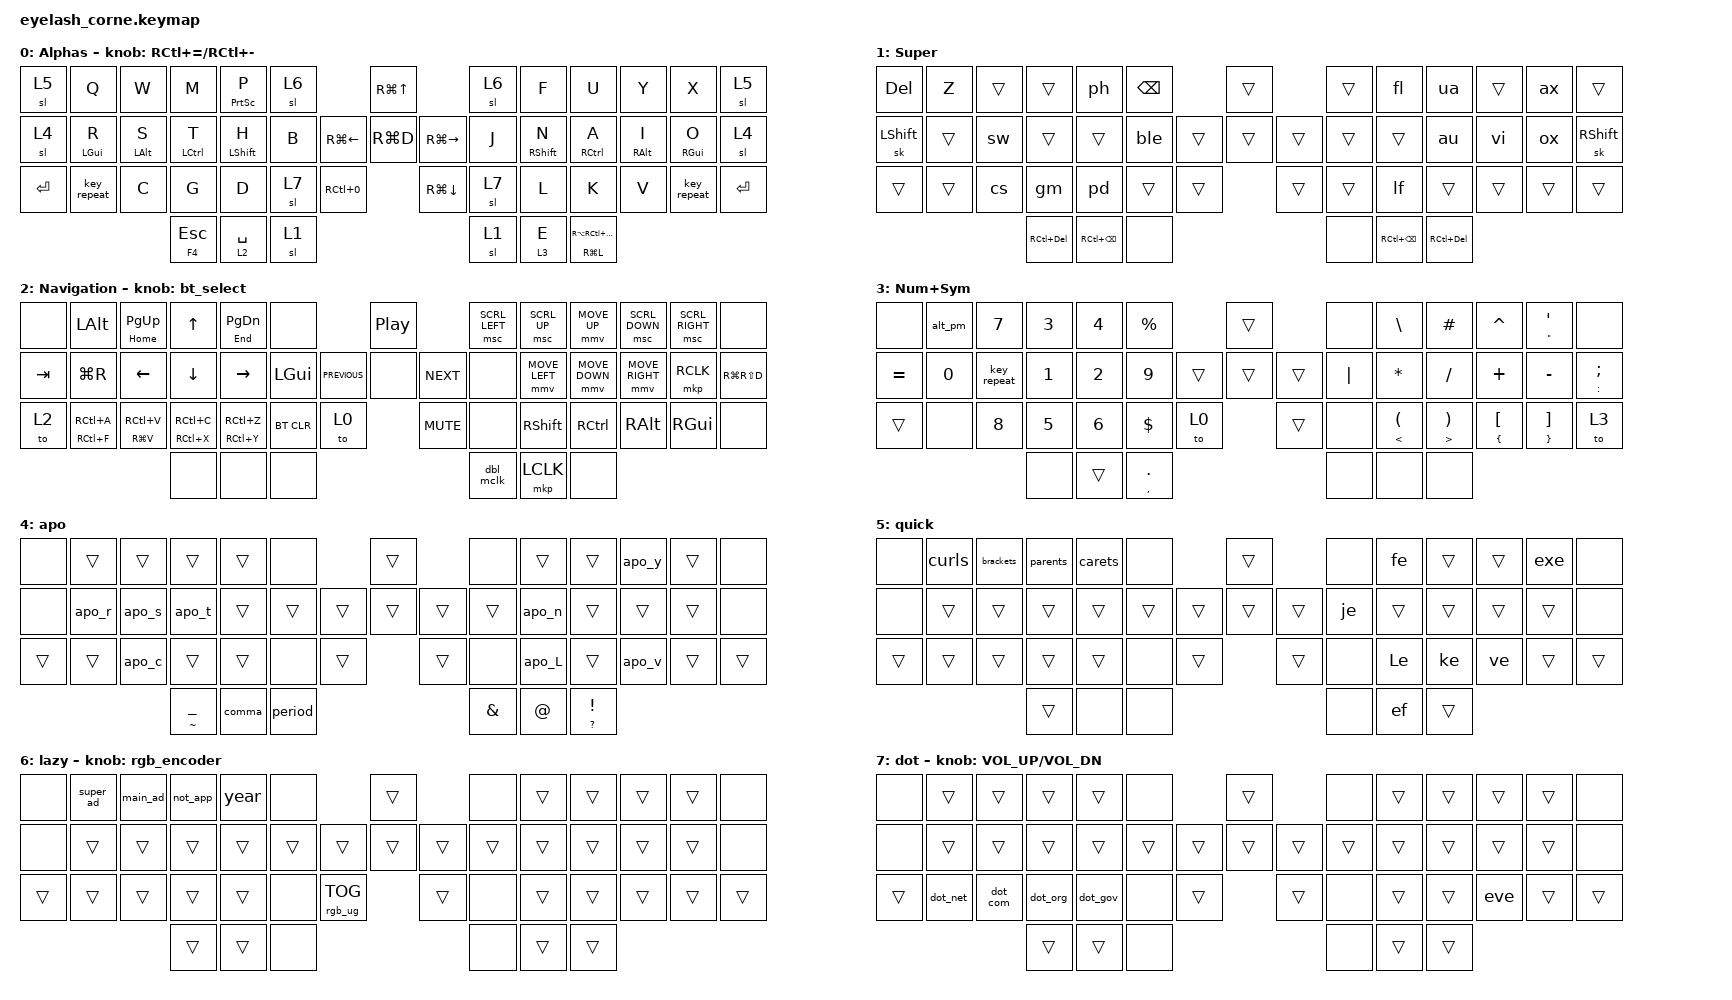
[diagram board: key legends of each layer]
#define ZMK_POINTING_DEFAULT_MOVE_VAL 1200  // 600
#define ZMK_POINTING_DEFAULT_SCRL_VAL 25   // 10

#include <input/processors.dtsi>
#include <zephyr/dt-bindings/input/input-event-codes.h>
#include <behaviors.dtsi>
#include <dt-bindings/zmk/bt.h>
#include <dt-bindings/zmk/keys.h>
#include <dt-bindings/zmk/outputs.h>
#include <dt-bindings/zmk/pointing.h>
#include <dt-bindings/zmk/rgb.h>

&mmv_input_listener { input-processors = <&zip_xy_scaler 2 1>; };

&msc_input_listener { input-processors = <&zip_scroll_scaler 2 1>; };

&msc {
    acceleration-exponent = <1>;      // 0
    time-to-max-speed-ms = <100>;       // 300
    delay-ms = <0>;                   // 0
};

&mmv {
    time-to-max-speed-ms = <500>;
    acceleration-exponent = <1>;
    trigger-period-ms = <16>;
};

&caps_word { continue-list = <UNDERSCORE BACKSPACE DELETE MINUS N1 N2 N3 N4 N5 N6 N7 N8 N9 N0>; };

/ {
    behaviors {
        td0: td0 {
            compatible = "zmk,behavior-tap-dance";
            display-name = "Shift/Caps Lock Tap Dance";
            #binding-cells = <0>;
            bindings = <&kp LEFT_SHIFT>, <&kp CAPS>;
        };

        bt_select: bt_select {
            compatible = "zmk,behavior-sensor-rotate";
            label = "BT_SELECT";
            #sensor-binding-cells = <0>;
            bindings = <&bt BT_NXT>, <&bt BT_PRV>;
        };
    };

    rgb_encoder: rgb_encoder {
        compatible = "zmk,behavior-sensor-rotate";
        #sensor-binding-cells = <0>;
        bindings = <&rgb_ug RGB_BRI>, <&rgb_ug RGB_BRD>;
    };

    scroll_encoder: scroll_encoder {
        compatible = "zmk,behavior-sensor-rotate";
        #sensor-binding-cells = <0>;
        bindings = <&msc SCRL_DOWN>, <&msc SCRL_UP>;

        tap-ms = <100>;
    };

    combos {
        compatible = "zmk,combos";

        input {
            bindings = <&out OUT_TOG>;
            key-positions = <5 0>;
            layers = <2>;
        };

        caps {
            bindings = <&caps_word>;
            key-positions = <45 44>;
            layers = <0>;
        };
    };

    macros {
        carets: carets {
            compatible = "zmk,behavior-macro";
            #binding-cells = <0>;
            bindings = <&kp LT &kp GT &kp LEFT_ARROW>;
            label = "CARETS";
        };

        parents: parents {
            compatible = "zmk,behavior-macro";
            #binding-cells = <0>;
            bindings = <&kp LPAR &kp RPAR &kp LEFT_ARROW>;
            label = "PARENTS";
        };

        brackets: brackets {
            compatible = "zmk,behavior-macro";
            #binding-cells = <0>;
            bindings = <&kp LBKT &kp RIGHT_BRACKET &kp LEFT_ARROW>;
            label = "BRACKETS";
        };

        curls: curls {
            compatible = "zmk,behavior-macro";
            #binding-cells = <0>;
            bindings = <&kp LBRC &kp RBRC &kp LEFT_ARROW>;
            label = "CURLS";
        };

        not_app: not_app {
            compatible = "zmk,behavior-macro";
            #binding-cells = <0>;
            bindings = <&kp LS(N) &kp FSLH &kp LS(A)>;
            label = "NOT_APP";
        };

        year: year {
            compatible = "zmk,behavior-macro";
            #binding-cells = <0>;
            bindings = <&kp N2 &kp N0 &kp N2 &kp N5>;
            label = "YEAR";
        };

        main_ad: main_ad {
            compatible = "zmk,behavior-macro";
            #binding-cells = <0>;
            bindings = <&kp D &kp E &kp L &kp L &kp O &kp N &kp DOT &kp M &kp O &kp Y>;
            label = "MAIN_AD";
        };

        super_ad: super_ad {
            compatible = "zmk,behavior-macro";
            #binding-cells = <0>;
            bindings = <&kp S &kp DOT &kp D &kp E &kp L &kp L &kp O &kp N &kp DOT &kp M &kp O &kp Y>;
            label = "SUPER_AD";
        };

        dbl_mclk: dbl_mclk {
            compatible = "zmk,behavior-macro";
            #binding-cells = <0>;
            bindings = <&mkp LCLK &mkp LCLK>;
            label = "DBL_MCLK";
        };

        apo_r: apo_r {
            compatible = "zmk,behavior-macro";
            #binding-cells = <0>;
            bindings = <&kp SQT &kp R &kp E &kp SPACE>;
            label = "APO_R";
        };

        apo_s: apo_s {
            compatible = "zmk,behavior-macro";
            #binding-cells = <0>;
            bindings = <&kp SQT &kp S &kp SPACE>;
            label = "APO_S";
        };

        apo_t: apo_t {
            compatible = "zmk,behavior-macro";
            #binding-cells = <0>;
            bindings = <&kp SQT &kp T &kp SPACE>;
            label = "APO_T";
        };

        apo_y: apo_y {
            compatible = "zmk,behavior-macro";
            #binding-cells = <0>;
            bindings = <&kp Y &kp SQT>;
            label = "APO_Y";
        };

        apo_L: apo_L {
            compatible = "zmk,behavior-macro";
            #binding-cells = <0>;
            bindings = <&kp SQT &kp L &kp L &kp SPACE>;
            label = "APO_L";
        };

        apo_v: apo_v {
            compatible = "zmk,behavior-macro";
            #binding-cells = <0>;
            bindings = <&kp SQT &kp V &kp E &kp SPACE>;
            label = "APO_V";
        };

        au: au {
            compatible = "zmk,behavior-macro";
            #binding-cells = <0>;
            bindings = <&kp A &kp U>;
            label = "AU";
        };

        sw: sw {
            compatible = "zmk,behavior-macro";
            #binding-cells = <0>;
            bindings = <&kp S &kp W>;
            label = "SW";
        };

        vi: vi {
            compatible = "zmk,behavior-macro";
            #binding-cells = <0>;
            bindings = <&kp V &kp I>;
            label = "VI";
        };

        cs: cs {
            compatible = "zmk,behavior-macro";
            #binding-cells = <0>;
            bindings = <&kp C &kp S>;
            label = "CS";
        };

        fl: fl {
            compatible = "zmk,behavior-macro";
            #binding-cells = <0>;
            bindings = <&kp F &kp L>;
            label = "FL";
        };

        lf: lf {
            compatible = "zmk,behavior-macro";
            #binding-cells = <0>;
            bindings = <&kp L &kp F>;
            label = "LF";
        };

        comma: comma {
            compatible = "zmk,behavior-macro";
            #binding-cells = <0>;
            bindings = <&kp COMMA &kp SPACE>;
            label = "COMMA";
        };

        period: period {
            compatible = "zmk,behavior-macro";
            #binding-cells = <0>;
            bindings = <&kp DOT &kp SPACE>;
            label = "PERIOD";
        };

        gm: gm {
            compatible = "zmk,behavior-macro";
            #binding-cells = <0>;
            bindings = <&kp G &kp M>;
            label = "GM";
        };

        dot_com: dot_com {
            compatible = "zmk,behavior-macro";
            #binding-cells = <0>;
            bindings = <&kp DOT &kp C &kp O &kp M>;
            label = "DOT_COM";
        };

        dot_net: dot_net {
            compatible = "zmk,behavior-macro";
            #binding-cells = <0>;
            bindings = <&kp DOT &kp N &kp E &kp T>;
            label = "DOT_NET";
        };

        dot_org: dot_org {
            compatible = "zmk,behavior-macro";
            #binding-cells = <0>;
            bindings = <&kp DOT &kp O &kp R &kp G>;
            label = "DOT_ORG";
        };

        dot_gov: dot_gov {
            compatible = "zmk,behavior-macro";
            #binding-cells = <0>;
            bindings = <&kp DOT &kp G &kp O &kp V>;
            label = "DOT_GOV";
        };

        pd: pd {
            compatible = "zmk,behavior-macro";
            #binding-cells = <0>;
            bindings = <&kp P &kp D>;
            label = "PD";
        };

        ef: ef {
            compatible = "zmk,behavior-macro";
            #binding-cells = <0>;
            bindings = <&kp E &kp F>;
            label = "EF";
        };

        fe: fe {
            compatible = "zmk,behavior-macro";
            #binding-cells = <0>;
            bindings = <&kp F &kp E>;
            label = "FE";
        };

        apo_c: apo_c {
            compatible = "zmk,behavior-macro";
            #binding-cells = <0>;
            bindings = <&kp C &kp SQT>;
            label = "APO_C";
        };

        apo_n: apo_n {
            compatible = "zmk,behavior-macro";
            #binding-cells = <0>;
            bindings = <&kp N &kp SQT>;
            label = "APO_N";
        };

        ua: ua {
            compatible = "zmk,behavior-macro";
            #binding-cells = <0>;
            bindings = <&kp U &kp A>;
            label = "UA";
        };

        ox: ox {
            compatible = "zmk,behavior-macro";
            #binding-cells = <0>;
            bindings = <&kp O &kp X>;
            label = "OX";
        };

        ax: ax {
            compatible = "zmk,behavior-macro";
            #binding-cells = <0>;
            bindings = <&kp A &kp X>;
            label = "AX";
        };

        ble: ble {
            compatible = "zmk,behavior-macro";
            #binding-cells = <0>;
            bindings = <&kp B &kp L &kp E>;
            label = "BLE";
        };

        Le: Le {
            compatible = "zmk,behavior-macro";
            #binding-cells = <0>;
            bindings = <&kp L &kp E>;
            label = "LE";
        };

        ke: ke {
            compatible = "zmk,behavior-macro";
            #binding-cells = <0>;
            bindings = <&kp K &kp E>;
            label = "KE";
        };

        ve: ve {
            compatible = "zmk,behavior-macro";
            #binding-cells = <0>;
            bindings = <&kp V &kp E>;
            label = "VE";
        };

        eve: eve {
            compatible = "zmk,behavior-macro";
            #binding-cells = <0>;
            bindings = <&kp E &kp V &kp E>;
            label = "EVE";
        };

        exe: exe {
            compatible = "zmk,behavior-macro";
            #binding-cells = <0>;
            bindings = <&kp E &kp X &kp E>;
            label = "EXE";
        };

        je: je {
            compatible = "zmk,behavior-macro";
            #binding-cells = <0>;
            bindings = <&kp J &kp E>;
            label = "JE";
        };

        ph: ph {
            compatible = "zmk,behavior-macro";
            #binding-cells = <0>;
            bindings = <&kp P &kp H>;
            label = "PH";
        };

        alt_pm: alt_pm {
            compatible = "zmk,behavior-macro";
            #binding-cells = <0>;
            bindings = <&kt KP_NUMLOCK &kt LEFT_ALT &kp N0 &kp N1 &kp N7 &kp N7 &kt LEFT_ALT &kt KP_NUMLOCK>;
            label = "ALT_PM";
        };
    };

    keymap {
        compatible = "zmk,keymap";

        Base {
            display-name = "Alphas";
            bindings = <
&sl 5       &kp Q        &kp W           &kp M        &mt PRINTSCREEN P  &sl 6                                    &kp RG(UP_ARROW)                   &sl 6  &kp F        &kp U                     &kp Y            &kp X        &sl 5
&sl 4       &mt LGUI R   &mt LEFT_ALT S  &mt LCTRL T  &mt LEFT_SHIFT H   &kp B                &kp RG(LEFT_ARROW)  &kp RG(D)           &kp RG(RIGHT)  &kp J  &mt RSHFT N  &mt RCTRL A               &mt RIGHT_ALT I  &mt RGUI O   &sl 4
&kp RETURN  &key_repeat  &kp C           &kp G        &kp D              &sl 7  &kp RC(N0)                        &kp RG(DOWN_ARROW)                 &sl 7  &kp L        &kp K                     &kp V            &key_repeat  &kp RETURN
                                         &mt F4 ESC   &lt 2 SPACE        &sl 1                                                                       &sl 1  &lt 3 E      &mt RG(L) RA(RC(DELETE))
            >;

            sensor-bindings = <&inc_dec_kp RC(EQUAL) RC(MINUS)>;
        };

        Super {
            bindings = <
&kp DELETE  &kp Z   &trans  &trans          &ph                &kp BACKSPACE                    &trans          &trans  &fl                &ua             &trans  &ax     &trans
&sk LSHFT   &trans  &sw     &trans          &trans             &ble                     &trans  &trans  &trans  &trans  &trans             &au             &vi     &ox     &sk RSHFT
&trans      &trans  &cs     &gm             &pd                &trans         &trans            &trans          &trans  &lf                &trans          &trans  &trans  &trans
                            &kp RC(DELETE)  &kp RC(BACKSPACE)  &none                                            &none   &kp RC(BACKSPACE)  &kp RC(DELETE)
            >;
        };

        Navigation {
            bindings = <
&none    &kp LALT         &mt HOME PG_UP   &kp UP_ARROW     &mt END PG_DN    &none                                &kp C_PLAY_PAUSE              &msc SCRL_LEFT  &msc SCRL_UP    &mmv MOVE_UP    &msc SCRL_DOWN   &msc SCRL_RIGHT  &none
&kp TAB  &kp LG(R)        &kp LEFT_ARROW   &kp DOWN_ARROW   &kp RIGHT_ARROW  &kp LGUI             &kp C_PREVIOUS  &none             &kp C_NEXT  &none           &mmv MOVE_LEFT  &mmv MOVE_DOWN  &mmv MOVE_RIGHT  &mkp RCLK        &kp RG(RS(D))
&to 2    &mt RC(F) RC(A)  &mt RG(V) RC(V)  &mt RC(X) RC(C)  &mt RC(Y) RC(Z)  &bt BT_CLR  &to 0                    &kp C_MUTE                    &none           &kp RSHFT       &kp RCTRL       &kp RALT         &kp RGUI         &none
                                           &none            &none            &none                                                              &dbl_mclk       &mkp LCLK       &none
            >;

            sensor-bindings = <&bt_select>;
        };

        Num+Sym {
            bindings = <
&none      &alt_pm  &kp N7       &kp N3  &kp N4  &kp PERCENT                        &trans          &none     &kp BACKSLASH                   &kp POUND                           &kp CARET              &mt DOUBLE_QUOTES SINGLE_QUOTE  &none
&kp EQUAL  &kp N0   &key_repeat  &kp N1  &kp N2  &kp N9                     &trans  &trans  &trans  &kp PIPE  &kp ASTRK                       &kp SLASH                           &kp PLUS               &kp MINUS                       &mt COLON SEMI
&trans     &none    &kp N8       &kp N5  &kp N6  &kp DOLLAR        &to 0            &trans          &none     &mt LESS_THAN LEFT_PARENTHESIS  &mt GREATER_THAN RIGHT_PARENTHESIS  &mt LBRC LEFT_BRACKET  &mt RIGHT_BRACE RIGHT_BRACKET   &to 3
                                 &none   &trans  &mt COMMA PERIOD                                   &none     &none                           &none
            >;
        };

        apo {
            bindings = <
&none   &trans  &trans  &trans           &trans  &none                      &trans          &none     &trans  &trans                    &apo_y  &trans  &none
&none   &apo_r  &apo_s  &apo_t           &trans  &trans             &trans  &trans  &trans  &trans    &apo_n  &trans                    &trans  &trans  &none
&trans  &trans  &apo_c  &trans           &trans  &none    &trans            &trans          &none     &apo_L  &trans                    &apo_v  &trans  &trans
                        &mt TILDE UNDER  &comma  &period                                    &kp AMPS  &kp AT  &mt QUESTION EXCLAMATION
            >;
        };

        quick {
            bindings = <
&none   &curls  &brackets  &parents  &carets  &none                     &trans          &none  &fe     &trans  &trans  &exe    &none
&none   &trans  &trans     &trans    &trans   &trans            &trans  &trans  &trans  &je    &trans  &trans  &trans  &trans  &none
&trans  &trans  &trans     &trans    &trans   &none   &trans            &trans          &none  &Le     &ke     &ve     &trans  &trans
                           &trans    &none    &none                                     &none  &ef     &trans
            >;
        };

        lazy {
            bindings = <
&none   &super_ad  &main_ad  &not_app  &year   &none                              &trans          &none   &trans  &trans  &trans  &trans  &none
&none   &trans     &trans    &trans    &trans  &trans                     &trans  &trans  &trans  &trans  &trans  &trans  &trans  &trans  &none
&trans  &trans     &trans    &trans    &trans  &none   &rgb_ug RGB_TOG            &trans          &none   &trans  &trans  &trans  &trans  &trans
                             &trans    &trans  &none                                              &none   &trans  &trans
            >;

            sensor-bindings = <&rgb_encoder>;
        };

        dot {
            bindings = <
&none   &trans    &trans    &trans    &trans    &none                     &trans          &none   &trans  &trans  &trans  &trans  &none
&none   &trans    &trans    &trans    &trans    &trans            &trans  &trans  &trans  &trans  &trans  &trans  &trans  &trans  &none
&trans  &dot_net  &dot_com  &dot_org  &dot_gov  &none   &trans            &trans          &none   &trans  &trans  &eve    &trans  &trans
                            &trans    &trans    &none                                     &none   &trans  &trans
            >;

            sensor-bindings = <&inc_dec_kp C_VOL_UP C_VOL_DN>;
        };
    };
};
